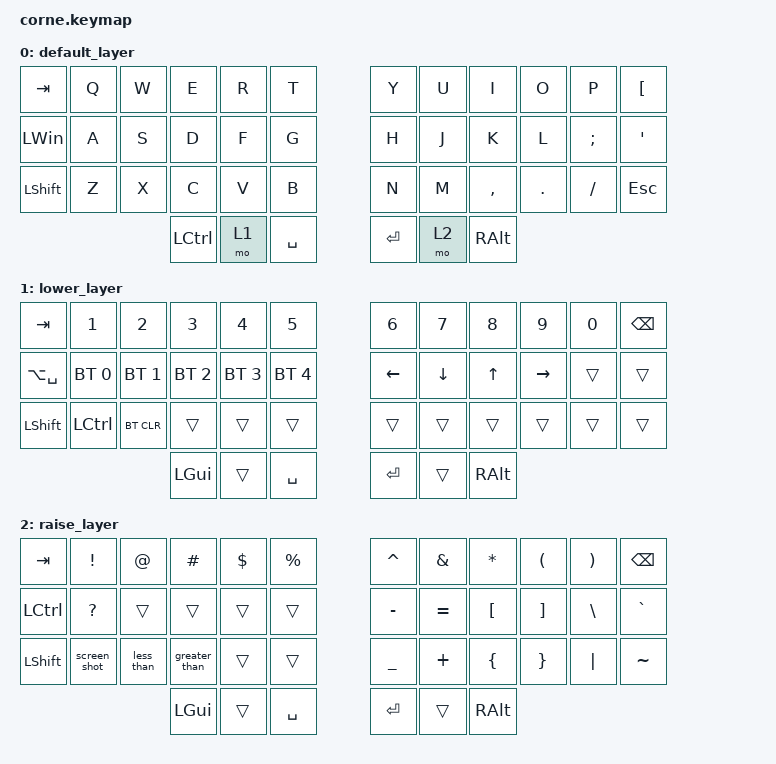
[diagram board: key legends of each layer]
/*
 * Copyright (c) 2020 The ZMK Contributors
 *
 * SPDX-License-Identifier: MIT
 */

#include "aliases.h"
#include <behaviors.dtsi>
#include <dt-bindings/zmk/bt.h>
#include <dt-bindings/zmk/keys.h>

/ {
    macros {
        screen_shot: screen_shot {
            compatible = "zmk,behavior-macro";
            #binding-cells = <0>;
            bindings =
                <&macro_press>,
                <&kp LEFT_COMMAND>,
                <&macro_press>,
                <&kp LEFT_SHIFT>,
                <&macro_tap>,
                <&kp NUMBER_4>,
                <&macro_release>,
                <&kp LEFT_SHIFT>,
                <&macro_release>,
                <&kp LEFT_COMMAND>;

            label = "SCREEN_SHOT";
        };

        less_than: less_than {
            compatible = "zmk,behavior-macro";
            #binding-cells = <0>;
            bindings = <&macro_tap>, <&kp GRAVE>;

            label = "LESS_THAN";
        };

        greater_than: greater_than {
            compatible = "zmk,behavior-macro";
            #binding-cells = <0>;
            bindings =
                <&macro_press>,
                <&kp LEFT_SHIFT>,
                <&macro_tap>,
                <&kp GRAVE>,
                <&macro_release>,
                <&kp LEFT_SHIFT>;

            label = "GREATER_THAN";
        };
    };

    keymap {
        compatible = "zmk,keymap";

        default_layer {
            // -----------------------------------------------------------------------------------------
            // |  TAB |  Q  |  W  |  E  |  R  |  T  |   |  Y  |  U   |  I  |  O  |  P  | Å |
            // | CTRL |  A  |  S  |  D  |  F  |  G  |   |  H  |  J   |  K  |  L  |  Æ  |  Ø   |
            // | SHFT |  Z  |  X  |  C  |  V  |  B  |   |  N  |  M   |  ,  |  .  |  /  | ESC  |
            //                    | GUI | LWR | SPC |   | ENT | RSE  | ALT |

            bindings = <
&kp TAB       &kp Q  &kp W  &kp E      &kp R  &kp T        &kp Y    &kp U  &kp I      &kp O    &kp P     &kp LEFT_BRACKET
&kp LEFT_WIN  &kp A  &kp S  &kp D      &kp F  &kp G        &kp H    &kp J  &kp K      &kp L    &kp SEMI  &kp SQT
&kp LSHFT     &kp Z  &kp X  &kp C      &kp V  &kp B        &kp N    &kp M  &kp COMMA  &kp DOT  &kp FSLH  &kp ESC
                            &kp LCTRL  &mo 1  &kp SPACE    &kp RET  &mo 2  &kp RALT
            >;
        };

        lower_layer {
            // -----------------------------------------------------------------------------------------
            // |  TAB |  1  |  2  |  3  |  4  |  5  |   |  6  |  7  |  8  |  9  |  0  | BKSP |
            // | BTCLR| BT1 | BT2 | BT3 | BT4 | BT5 |   | LFT | DWN |  UP | RGT |     |      |
            // | SHFT |     |     |     |     |     |   |     |     |     |     |     |      |
            //                    | GUI |     | SPC |   | ENT |     | ALT |

            bindings = <
&kp TAB        &kp N1        &kp N2        &kp N3        &kp N4        &kp N5          &kp N6    &kp N7    &kp N8    &kp N9     &kp N0  &kp BSPC
&kp LA(SPACE)  &bt BT_SEL 0  &bt BT_SEL 1  &bt BT_SEL 2  &bt BT_SEL 3  &bt BT_SEL 4    &kp LEFT  &kp DOWN  &kp UP    &kp RIGHT  &trans  &trans
&kp LSHFT      &kp LCTRL     &bt BT_CLR    &trans        &trans        &trans          &trans    &trans    &trans    &trans     &trans  &trans
                                           &kp LGUI      &trans        &kp SPACE       &kp RET   &trans    &kp RALT
            >;
        };

        raise_layer {
            // -----------------------------------------------------------------------------------------
            // |  TAB |  !  |  @  |  #  |  $  |  %  |   |  ^  |  &  |  *  |  (  |  )  | BKSP |
            // | CTRL |     |     |     |     |     |   |  -  |  =  |  [  |  ]  |  \  |  `   |
            // | SHFT |     |     |     |     |     |   |  _  |  +  |  {  |  }  | "|" |  ~   |
            //                    | GUI |     | SPC |   | ENT |     | ALT |

            bindings = <
&kp TAB    &kp EXCL      &kp AT      &kp HASH       &kp DLLR  &kp PRCNT    &kp CARET  &kp AMPS   &kp ASTRK  &kp LPAR  &kp RPAR  &kp BSPC
&kp LCTRL  &kp QUESTION  &trans      &trans         &trans    &trans       &kp MINUS  &kp EQUAL  &kp LBKT   &kp RBKT  &kp BSLH  &kp GRAVE
&kp LSHFT  &screen_shot  &less_than  &greater_than  &trans    &trans       &kp UNDER  &kp PLUS   &kp LBRC   &kp RBRC  &kp PIPE  &kp TILDE
                                     &kp LGUI       &trans    &kp SPACE    &kp RET    &trans     &kp RALT
            >;
        };
    };
};
